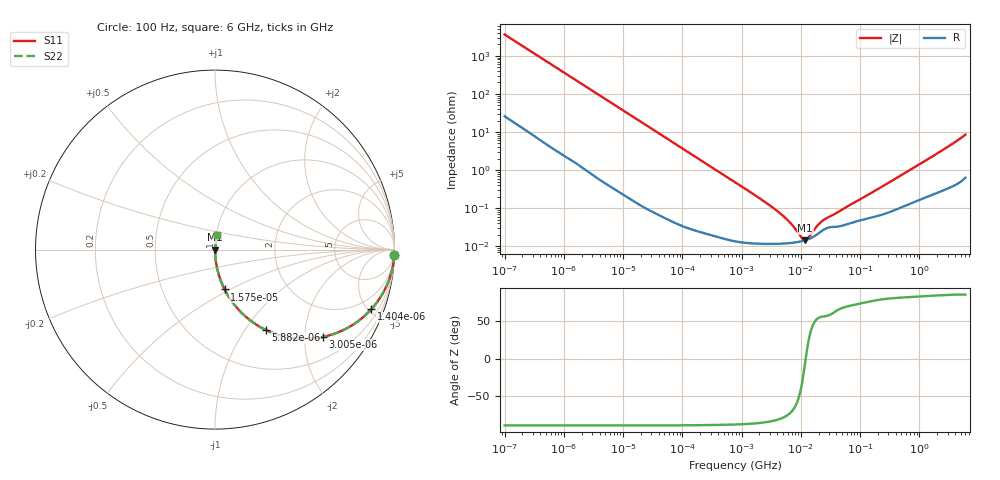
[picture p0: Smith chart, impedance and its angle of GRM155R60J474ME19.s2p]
!Murata Part Number: GRM155R60J474ME19
!These Parameters are Measured in Series Mode Connection
!Data Generated on Mar 30, 2021
!  o--ll--o
!Port1  Port2
!  o------o
!Operation Temp=25[degC], DC Bias Voltage=0[V]
!Freq. Start=100[Hz] Stop=6[GHz] 401[Steps]
# Hz S RI R 50
!Freq.(Hz) S11(Real) S11(Imag) S21(Real) S21(Imag) S12(Real) S12(Imag) S22(Real) S22(Imag)
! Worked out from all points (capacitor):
!   401 points, 100 Hz to 6 GHz, reference 50 ohm
!   read as one part in series: C = 438 nF near 109 Hz
!   lowest |Z| = 14.5 mohm at 11.89 MHz (marker M1)
!   series resonance near 12.09 MHz, so ESL is about 400 pH
!   S11 on the Smith chart (normalised r, x): 100 Hz: 2, -72; 1.404 kHz: 1.03, -5.22; 3.005 kHz: 1.02, -2.45; 5.882 kHz: 1.01, -1.25; 15.75 kHz: 1.00, -0.47; 6 GHz: 1.01, +0.17
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100  0.999 -0.0276  0.000958 0.0276  0.000958 0.0276  0.999 -0.0276
438  0.985 -0.1182  0.015 0.1182  0.015 0.1182  0.985 -0.1182
858  0.9466 -0.2216  0.0534 0.2216  0.0534 0.2216  0.9466 -0.2216
1404  0.8705 -0.3325  0.1295 0.3325  0.1295 0.3325  0.8705 -0.3325
2008  0.7682 -0.4187  0.2318 0.4187  0.2318 0.4187  0.7682 -0.4187
3005  0.599 -0.487  0.401 0.487  0.401 0.487  0.599 -0.487
5882  0.2832 -0.4475  0.7168 0.4475  0.7168 0.4475  0.2832 -0.4475
9204  0.1402 -0.3441  0.8598 0.3441  0.8598 0.3441  0.1402 -0.3441
15752  0.0535 -0.222  0.9465 0.222  0.9465 0.222  0.0535 -0.222
40335  0.00904 -0.0911  0.991 0.0911  0.991 0.0911  0.00904 -0.0911
129199  0.00112 -0.0288  0.9989 0.0288  0.9989 0.0288  0.00112 -0.0288
774597  0.000159 -0.00483  0.9998 0.00483  0.9998 0.00483  0.000159 -0.00483
4440638  0.000118 -0.000733  0.9999 0.000733  0.9999 0.000733  0.000118 -0.000733
6948629  0.000123 -0.000362  0.9999 0.000362  0.9999 0.000362  0.000123 -0.000362
1.039699e7  0.000137 -9.37e-05  0.9999 9.37e-05  0.9999 9.37e-05  0.000137 -9.37e-05
1.189169e7  0.000145 -1.01e-05  0.9999 1.01e-05  0.9999 1.01e-05  0.000145 -1.01e-05
1.300572e7  0.000152 4.53e-05  0.9998 -4.53e-05  0.9998 -4.53e-05  0.000152 4.53e-05
1.555665e7  0.000171 0.000156  0.9998 -0.000156  0.9998 -0.000156  0.000171 0.000156
2.035112e7  0.000224 0.00032  0.9998 -0.00032  0.9998 -0.00032  0.000224 0.00032
2.545746e7  0.000284 0.000434  0.9997 -0.000434  0.9997 -0.000434  0.000284 0.000434
3.124326e8  0.000809 0.00473  0.9992 -0.00473  0.9992 -0.00473  0.000809 0.00473
6e9  0.0134 0.0835  0.9866 -0.0835  0.9866 -0.0835  0.0134 0.0835
